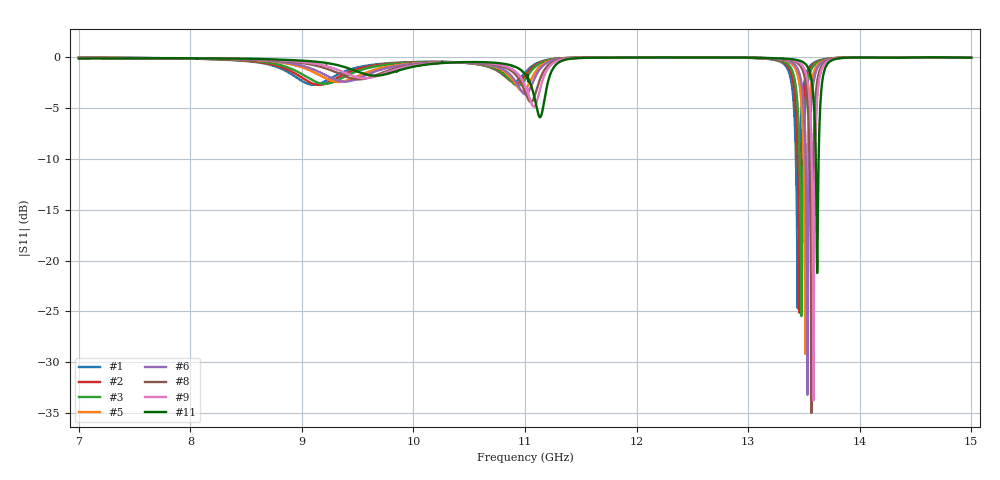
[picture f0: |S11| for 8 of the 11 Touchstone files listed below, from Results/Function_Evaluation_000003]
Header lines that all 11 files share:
! TOUCHSTONE file generated by CST DESIGN STUDIO
! Project name: C:\Work\MatlabApps\UnitCellType2OptimizationMatlab\CST\unitcell.cst
! Tree item: Tasks\Sweep1\SPara1\S-Parameters
! Header version: 2024
! Port assignment regex: !\s*Touchstone port\s*([0-9]+)\s*=\s*(CST MWS port|CST DES external port|CST DES block port)\s*(.+)\s* \(\"(.*)\"\)(\s*mode\s*([0-9]+))?.*
! Touchstone port assignment:
! Touchstone port 1 = CST DES external port 1 ("")
# GHz S MA R 50
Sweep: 7 GHz to 15 GHz
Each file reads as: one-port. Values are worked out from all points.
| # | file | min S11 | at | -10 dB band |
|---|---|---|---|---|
| 1 | DS_for_MWS-run-0001.s1p | -24.7 dB | 13.45 GHz | 33.04 MHz wide |
| 2 | DS_for_MWS-run-0002.s1p | -25.1 dB | 13.46 GHz | 32.88 MHz wide |
| 3 | DS_for_MWS-run-0003.s1p | -25.5 dB | 13.48 GHz | 32.57 MHz wide |
| 4 | DS_for_MWS-run-0004.s1p | -27.0 dB | 13.5 GHz | 32.27 MHz wide |
| 5 | DS_for_MWS-run-0005.s1p | -29.2 dB | 13.51 GHz | 32.06 MHz wide |
| 6 | DS_for_MWS-run-0006.s1p | -33.2 dB | 13.53 GHz | 31.17 MHz wide |
| 7 | DS_for_MWS-run-0007.s1p | -41.2 dB | 13.55 GHz | 30.49 MHz wide |
| 8 | DS_for_MWS-run-0008.s1p | -35.0 dB | 13.57 GHz | 29.95 MHz wide |
| 9 | DS_for_MWS-run-0009.s1p | -33.8 dB | 13.59 GHz | 29.42 MHz wide |
| 10 | DS_for_MWS-run-0010.s1p | -24.5 dB | 13.6 GHz | 27.58 MHz wide |
| 11 | DS_for_MWS-run-0011.s1p | -21.2 dB | 13.62 GHz | 25.67 MHz wide |
